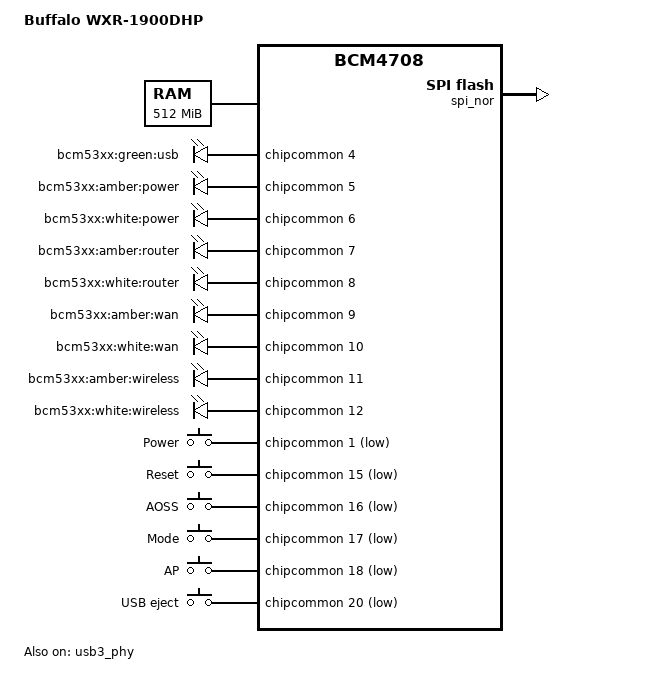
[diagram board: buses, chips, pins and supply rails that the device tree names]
// SPDX-License-Identifier: GPL-2.0-or-later OR MIT
/*
 * Broadcom BCM470X / BCM5301X ARM platform code.
 * DTS for Buffalo WXR-1900DHP
 *
 * Copyright (C) 2015 Felix Fietkau <nbd@openwrt.org>
 */

/dts-v1/;

#include "bcm4709.dtsi"
#include "bcm5301x-nand-cs0-bch8.dtsi"

/ {
	compatible = "buffalo,wxr-1900dhp", "brcm,bcm4709", "brcm,bcm4708";
	model = "Buffalo WXR-1900DHP";

	chosen {
		bootargs = "console=ttyS0,115200";
	};

	memory {
		device_type = "memory";
		reg = <0x00000000 0x08000000
		       0x88000000 0x18000000>;
	};

	leds {
		compatible = "gpio-leds";

		usb {
			label = "bcm53xx:green:usb";
			gpios = <&chipcommon 4 GPIO_ACTIVE_HIGH>;
		};

		power-amber {
			label = "bcm53xx:amber:power";
			gpios = <&chipcommon 5 GPIO_ACTIVE_HIGH>;
		};

		power-white {
			label = "bcm53xx:white:power";
			gpios = <&chipcommon 6 GPIO_ACTIVE_HIGH>;
			linux,default-trigger = "default-on";
		};

		router-amber {
			label = "bcm53xx:amber:router";
			gpios = <&chipcommon 7 GPIO_ACTIVE_HIGH>;
		};

		router-white {
			label = "bcm53xx:white:router";
			gpios = <&chipcommon 8 GPIO_ACTIVE_HIGH>;
		};

		wan-amber {
			label = "bcm53xx:amber:wan";
			gpios = <&chipcommon 9 GPIO_ACTIVE_HIGH>;
		};

		wan-white {
			label = "bcm53xx:white:wan";
			gpios = <&chipcommon 10 GPIO_ACTIVE_HIGH>;
		};

		wireless-amber {
			label = "bcm53xx:amber:wireless";
			gpios = <&chipcommon 11 GPIO_ACTIVE_HIGH>;
		};

		wireless-white {
			label = "bcm53xx:white:wireless";
			gpios = <&chipcommon 12 GPIO_ACTIVE_HIGH>;
		};
	};

	gpio-keys {
		compatible = "gpio-keys";
		#address-cells = <1>;
		#size-cells = <0>;

		power {
			label = "Power";
			linux,code = <KEY_POWER>;
			gpios = <&chipcommon 1 GPIO_ACTIVE_LOW>;
		};

		restart {
			label = "Reset";
			linux,code = <KEY_RESTART>;
			gpios = <&chipcommon 15 GPIO_ACTIVE_LOW>;
		};

		aoss {
			label = "AOSS";
			linux,code = <KEY_WPS_BUTTON>;
			gpios = <&chipcommon 16 GPIO_ACTIVE_LOW>;
		};

		/* Commit mode set by switch? */
		mode {
			label = "Mode";
			linux,code = <KEY_SETUP>;
			gpios = <&chipcommon 17 GPIO_ACTIVE_LOW>;
		};

		/* Switch: AP mode */
		sw_ap {
			label = "AP";
			linux,code = <BTN_0>;
			gpios = <&chipcommon 18 GPIO_ACTIVE_LOW>;
		};

		eject {
			label = "USB eject";
			linux,code = <KEY_EJECTCD>;
			gpios = <&chipcommon 20 GPIO_ACTIVE_LOW>;
		};
	};
};


&usb2 {
	vcc-gpio = <&chipcommon 13 GPIO_ACTIVE_HIGH>;
};

&spi_nor {
	status = "okay";
};

&usb3_phy {
	status = "okay";
};
